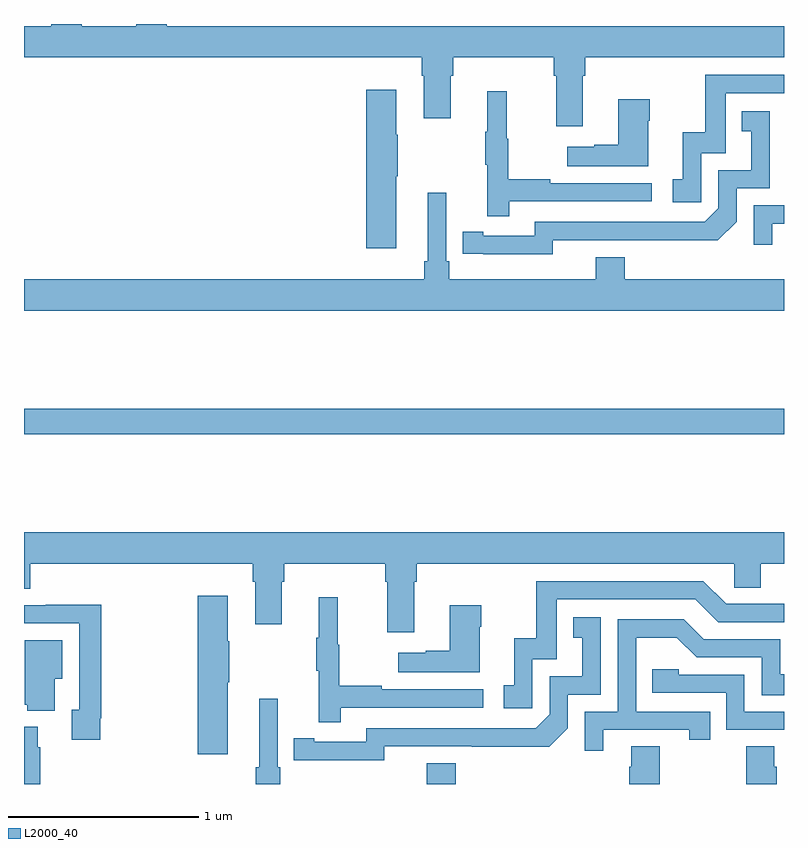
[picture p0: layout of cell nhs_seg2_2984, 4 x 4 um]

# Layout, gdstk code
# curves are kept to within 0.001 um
import gdstk
lib = gdstk.Library(unit=1e-6, precision=1e-09)
def R(c, l, rs):  # rectangles x0, y0, x1, y1
    for r in rs: c.add(gdstk.rectangle(r[:2], r[2:], *l))
def P(c, l, *ps):  # polygons
    for p in ps: c.add(gdstk.Polygon(p, *l))
L2000_40 = (2000, 40)

nhs_seg2_2984 = lib.new_cell('nhs_seg2_2984')
R(nhs_seg2_2984, L2000_40, [(269.12,655.8,269.273,655.909), (267,657.64,271,657.776)])
P(nhs_seg2_2984, L2000_40, [(269.941,659.528),(269.954,659.528),(269.954,659.624),(271,659.624),(271,659.788),(267.752,659.788),(267.752,659.8),(267.592,659.8),(267.592,659.788),(267.303,659.788),(267.303,659.8),(267.143,659.8),(267.143,659.788),(267,659.788),(267,659.624),(269.093,659.624),(269.093,659.528),(269.105,659.528),(269.105,659.304),(269.245,659.304),(269.245,659.528),(269.258,659.528),(269.258,659.624),(269.789,659.624),(269.789,659.528),(269.801,659.528),(269.801,659.262),(269.941,659.262)],
  [(270.564,659.121),(270.693,659.121),(270.693,659.436),(271,659.436),(271,659.532),(270.585,659.532),(270.585,659.23),(270.467,659.23),(270.467,658.983),(270.414,658.983),(270.414,658.863),(270.564,658.863)],
  [(268.96,658.999),(268.968,658.999),(268.968,659.216),(268.96,659.216),(268.96,659.455),(268.802,659.455),(268.802,658.62),(268.96,658.62)],
  [(269.555,658.866),(270.304,658.866),(270.304,658.962),(269.771,658.962),(269.771,658.982),(269.548,658.982),(269.548,659.196),(269.54,659.196),(269.54,659.446),(269.438,659.446),(269.438,659.233),(269.427,659.233),(269.427,659.059),(269.438,659.059),(269.438,658.788),(269.555,658.788)],
  [(270.286,659.291),(270.294,659.291),(270.294,659.404),(270.128,659.404),(270.128,659.165),(270.002,659.165),(270.002,659.155),(269.859,659.155),(269.859,659.051),(270.286,659.051)],
  [(269.784,658.662),(270.652,658.661),(270.75,658.758),(270.75,658.935),(270.924,658.935),(270.924,659.341),(270.778,659.341),(270.778,659.235),(270.827,659.235),(270.827,659.031),(270.654,659.031),(270.654,658.83),(270.582,658.758),(269.688,658.758),(269.688,658.686),(269.416,658.686),(269.416,658.706),(269.308,658.706),(269.308,658.59),(269.784,658.589)],
  [(271,658.456),(270.161,658.456),(270.161,658.573),(270.008,658.573),(270.008,658.456),(269.237,658.456),(269.237,658.552),(269.223,658.552),(269.223,658.912),(269.126,658.912),(269.126,658.552),(269.107,658.552),(269.107,658.456),(267,658.456),(267,658.292),(271,658.292)],
  [(270.937,658.749),(271,658.749),(271,658.845),(270.84,658.845),(270.84,658.638),(270.937,658.638)],
  [(269.053,656.864),(269.066,656.864),(269.066,656.96),(270.738,656.96),(270.738,656.833),(270.877,656.833),(270.877,656.96),(271,656.96),(271,657.124),(267,657.124),(267,656.827),(267.032,656.827),(267.032,656.96),(268.205,656.96),(268.205,656.864),(268.217,656.864),(268.217,656.64),(268.357,656.64),(268.357,656.864),(268.37,656.864),(268.37,656.96),(268.901,656.96),(268.901,656.864),(268.913,656.864),(268.913,656.598),(269.053,656.598)],
  [(269.676,656.457),(269.805,656.457),(269.805,656.772),(270.534,656.772),(270.654,656.652),(271,656.652),(271,656.748),(270.696,656.748),(270.576,656.868),(269.697,656.868),(269.697,656.566),(269.579,656.566),(269.579,656.319),(269.526,656.319),(269.526,656.199),(269.676,656.199)],
  [(268.072,656.335),(268.08,656.335),(268.08,656.552),(268.072,656.552),(268.072,656.791),(267.914,656.791),(267.914,655.956),(268.072,655.956)],
  [(268.667,656.202),(269.416,656.202),(269.416,656.298),(268.883,656.298),(268.883,656.318),(268.66,656.318),(268.66,656.532),(268.652,656.532),(268.652,656.782),(268.55,656.782),(268.55,656.569),(268.539,656.569),(268.539,656.395),(268.55,656.395),(268.55,656.124),(268.667,656.124)],
  [(267.4,656.146),(267.407,656.146),(267.407,656.744),(267.115,656.744),(267.115,656.742),(267,656.742),(267,656.646),(267.291,656.646),(267.291,656.19),(267.251,656.19),(267.251,656.034),(267.4,656.034)],
  [(269.398,656.627),(269.406,656.627),(269.406,656.74),(269.24,656.74),(269.24,656.501),(269.114,656.501),(269.114,656.491),(268.971,656.491),(268.971,656.387),(269.398,656.387)],
  [(268.896,655.998),(269.764,655.997),(269.862,656.094),(269.862,656.271),(270.036,656.271),(270.036,656.677),(269.89,656.677),(269.89,656.571),(269.939,656.571),(269.939,656.367),(269.766,656.367),(269.766,656.166),(269.694,656.094),(268.8,656.094),(268.8,656.022),(268.528,656.022),(268.528,656.042),(268.42,656.042),(268.42,655.926),(268.896,655.925)],
  [(270.049,656.085),(270.5,656.085),(270.5,656.034),(270.611,656.034),(270.611,656.181),(270.222,656.181),(270.222,656.57),(270.436,656.57),(270.54,656.466),(270.882,656.466),(270.882,656.268),(271,656.268),(271,656.377),(270.981,656.377),(270.981,656.562),(270.577,656.562),(270.472,656.667),(270.126,656.667),(270.126,656.181),(269.952,656.181),(269.952,655.974),(270.049,655.974)],
  [(267.163,656.354),(267.202,656.354),(267.202,656.557),(267.005,656.557),(267.005,656.217),(267.017,656.217),(267.017,656.186),(267.163,656.186)],
  [(271,656.181),(270.792,656.181),(270.792,656.376),(270.447,656.376),(270.447,656.403),(270.307,656.403),(270.307,656.28),(270.696,656.28),(270.696,656.085),(271,656.085)],
  [(268.349,655.888),(268.335,655.888),(268.335,656.248),(268.238,656.248),(268.238,655.888),(268.219,655.888),(268.219,655.8),(268.349,655.8)],
  [(267.086,655.994),(267.073,655.994),(267.073,656.101),(267,656.101),(267,655.8),(267.086,655.8)],
  [(270.345,656),(270.197,656),(270.197,655.89),(270.185,655.89),(270.185,655.8),(270.345,655.8)],
  [(270.962,655.89),(270.949,655.89),(270.949,656),(270.802,656),(270.802,655.8),(270.962,655.8)])

lib.write_gds('nhs_seg2_2984.gds')
